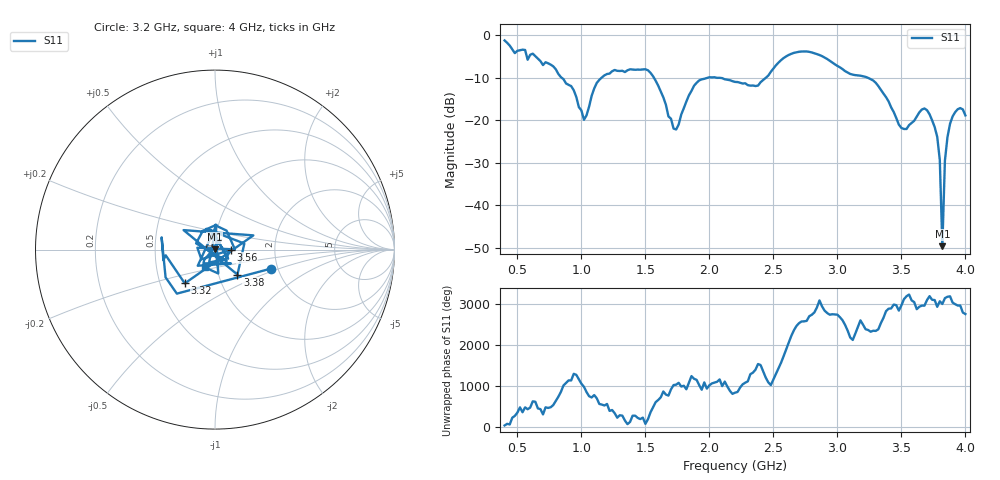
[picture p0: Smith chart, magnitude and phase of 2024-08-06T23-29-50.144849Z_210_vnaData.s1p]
!Created with skrf (http://scikit-rf.org).
# Hz S RI R 50.0
!freq ReS11 ImS11
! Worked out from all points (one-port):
!   181 points, 400 MHz to 4 GHz, reference 50 ohm
!   lowest |S11| = -49.7 dB at 3.82 GHz (marker M1), VSWR 1.01, Z = 49.8 + j0.26 ohm
!   |S11| at or under -10 dB: 1.567 GHz to 1.984 GHz (417.5 MHz wide, 23.5 % of centre); 2.082 GHz to 2.441 GHz (358.1 MHz wide, 15.8 % of centre); 3.239 GHz to end of sweep (the widest 3 of 5)
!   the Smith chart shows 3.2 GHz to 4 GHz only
!   S11 on the Smith chart (normalised r, x): 3.2 GHz: 1.84, -0.44; 3.32 GHz: 0.67, -0.27; 3.38 GHz: 1.23, -0.35; 3.56 GHz: 1.19, -0.00; 4 GHz: 0.88, -0.18
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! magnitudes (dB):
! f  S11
! 400 MHz  -1.2
! 860 MHz  -10.3
! 940 MHz  -12.9
! 1.02 GHz  -19.9
! 1.12 GHz  -11.2
! 1.3 GHz  -8.4
! 1.52 GHz  -8.2
! 1.6 GHz  -11.8
! 1.72 GHz  -21.9
! 1.76 GHz  -21.0
! 1.92 GHz  -10.6
! 2.2 GHz  -11.0
! 2.38 GHz  -11.8
! 2.66 GHz  -4.1
! 3.1 GHz  -9.1
! 3.2 GHz  -9.6
! 3.32 GHz  -12.0
! 3.38 GHz  -14.6
! 3.5 GHz  -21.8
! 3.56 GHz  -21.1
! 3.68 GHz  -17.2
! 3.76 GHz  -21.6
! 3.8 GHz  -29.3
! 3.82 GHz  -49.7
! 3.84 GHz  -29.5
! 3.86 GHz  -24.0
! 3.92 GHz  -18.1
! 4 GHz  -18.8
